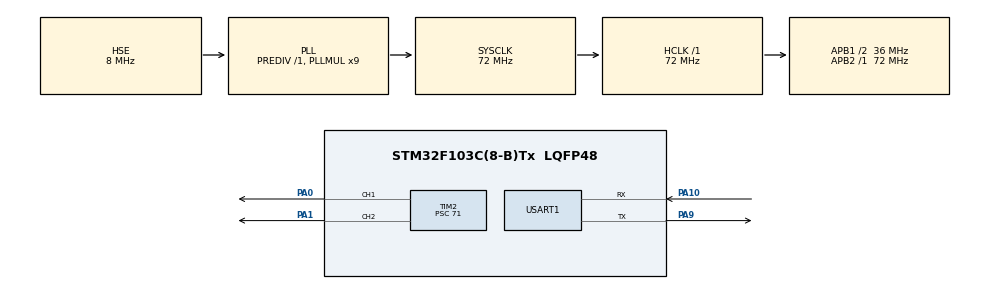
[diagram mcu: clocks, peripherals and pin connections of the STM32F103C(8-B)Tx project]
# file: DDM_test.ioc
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Mcu.Family=STM32F1
Mcu.Name=STM32F103C(8-B)Tx
Mcu.Package=LQFP48
NVIC.PriorityGroup=NVIC_PRIORITYGROUP_4
PA0-WKUP.Signal=S_TIM2_CH1_ETR
PA1.Signal=S_TIM2_CH2
PA10.Mode=Asynchronous
PA10.Signal=USART1_RX
PA13.Mode=Serial_Wire
PA13.Signal=SYS_JTMS-SWDIO
PA14.Mode=Serial_Wire
PA14.Signal=SYS_JTCK-SWCLK
PA9.Mode=Asynchronous
PA9.Signal=USART1_TX
PD0-OSC_IN.Mode=HSE-External-Oscillator
PD0-OSC_IN.Signal=RCC_OSC_IN
PD1-OSC_OUT.Mode=HSE-External-Oscillator
PD1-OSC_OUT.Signal=RCC_OSC_OUT
ProjectManager.HeapSize=0x200
ProjectManager.StackSize=0x400
ProjectManager.TargetToolchain=CMake
RCC.AHBFreq_Value=72000000
RCC.APB1CLKDivider=RCC_HCLK_DIV2
RCC.APB1Freq_Value=36000000
RCC.APB1TimFreq_Value=72000000
RCC.APB2Freq_Value=72000000
RCC.APB2TimFreq_Value=72000000
RCC.HCLKFreq_Value=72000000
RCC.PLLMUL=RCC_PLL_MUL9
RCC.PLLSourceVirtual=RCC_PLLSOURCE_HSE
RCC.SYSCLKFreq_VALUE=72000000
RCC.SYSCLKSource=RCC_SYSCLKSOURCE_PLLCLK
RCC.USBFreq_Value=72000000
SH.S_TIM2_CH1_ETR.0=TIM2_CH1,PWM Generation1 CH1
SH.S_TIM2_CH2.0=TIM2_CH2,PWM Generation2 CH2
TIM2.Channel-PWM\ Generation1\ CH1=TIM_CHANNEL_1
TIM2.Channel-PWM\ Generation2\ CH2=TIM_CHANNEL_2
TIM2.Period=19999
TIM2.Prescaler=71
TIM2.Pulse-PWM\ Generation1\ CH1=1500
TIM2.Pulse-PWM\ Generation2\ CH2=1500
USART1.VirtualMode=VM_ASYNC
VP_TIM2_VS_ClockSourceINT.Mode=Internal
board=custom

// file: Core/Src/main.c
/* USER CODE BEGIN Header */
/**
  ******************************************************************************
  * @file           : main.c
  * @brief          : Main program body
  ******************************************************************************
  * @attention
  *
  * Copyright (c) 2026 STMicroelectronics.
  * All rights reserved.
  *
  * This software is licensed under terms that can be found in the LICENSE file
  * in the root directory of this software component.
  * If no LICENSE file comes with this software, it is provided AS-IS.
  *
  ******************************************************************************
  */
/* USER CODE END Header */
#include "main.h"

/* USER CODE BEGIN Includes */
#include <stdio.h>
/* USER CODE END Includes */

TIM_HandleTypeDef htim2;

UART_HandleTypeDef huart1;

/* USER CODE BEGIN PV */
uint8_t rx_byte;
uint8_t rx_buffer[50];
uint16_t rx_index = 0;
int move_x, move_y;
int servo_x = 1500;
int servo_y = 1500;
/* USER CODE END PV */

void SystemClock_Config(void);
static void MX_GPIO_Init(void);
static void MX_TIM2_Init(void);
static void MX_USART1_UART_Init(void);

int main(void)
{

  /* MCU Configuration--------------------------------------------------------*/

  /* Reset of all peripherals, Initializes the Flash interface and the Systick. */
  HAL_Init();

  /* Configure the system clock */
  SystemClock_Config();

  /* Initialize all configured peripherals */
  MX_GPIO_Init();
  MX_TIM2_Init();
  MX_USART1_UART_Init();
  /* USER CODE BEGIN 2 */
  HAL_TIM_PWM_Start(&htim2, TIM_CHANNEL_1);
  HAL_TIM_PWM_Start(&htim2, TIM_CHANNEL_2);

  __HAL_TIM_SET_COMPARE(&htim2, TIM_CHANNEL_1, 1500);
  __HAL_TIM_SET_COMPARE(&htim2, TIM_CHANNEL_2, 1500);
  /* USER CODE END 2 */

  /* Infinite loop */
  while (1)
  {

    /* USER CODE BEGIN 3 */
    if (HAL_UART_Receive(&huart1, &rx_byte, 1, 1) == HAL_OK)
    {
      if (rx_byte != '\n' && rx_index < 49) {
        rx_buffer[rx_index++] = rx_byte;
      }
      else {
        rx_buffer[rx_index] = '\0';
        rx_index = 0;

        if (sscanf((char*)rx_buffer, "%d,%d", &move_x, &move_y) == 2)
        {
          servo_x -= move_x;
          servo_y += move_y;

          if (servo_x < 500) servo_x = 500;
          if (servo_x > 2500) servo_x = 2500;

          if (servo_y < 500) servo_y = 500;
          if (servo_y > 2500) servo_y = 2500;

          __HAL_TIM_SET_COMPARE(&htim2, TIM_CHANNEL_1, servo_x);
          __HAL_TIM_SET_COMPARE(&htim2, TIM_CHANNEL_2, servo_y);
        }
      }
    }
  }
  /* USER CODE END 3 */
}

void SystemClock_Config(void)
{
  RCC_OscInitTypeDef RCC_OscInitStruct = {0};
  RCC_ClkInitTypeDef RCC_ClkInitStruct = {0};

  /** Initializes the RCC Oscillators according to the specified parameters
  * in the RCC_OscInitTypeDef structure.
  */
  RCC_OscInitStruct.OscillatorType = RCC_OSCILLATORTYPE_HSE;
  RCC_OscInitStruct.HSEState = RCC_HSE_ON;
  RCC_OscInitStruct.HSEPredivValue = RCC_HSE_PREDIV_DIV1;
  RCC_OscInitStruct.HSIState = RCC_HSI_ON;
  RCC_OscInitStruct.PLL.PLLState = RCC_PLL_ON;
  RCC_OscInitStruct.PLL.PLLSource = RCC_PLLSOURCE_HSE;
  RCC_OscInitStruct.PLL.PLLMUL = RCC_PLL_MUL9;
  if (HAL_RCC_OscConfig(&RCC_OscInitStruct) != HAL_OK)
  {
    Error_Handler();
  }

  /** Initializes the CPU, AHB and APB buses clocks
  */
  RCC_ClkInitStruct.ClockType = RCC_CLOCKTYPE_HCLK|RCC_CLOCKTYPE_SYSCLK
                              |RCC_CLOCKTYPE_PCLK1|RCC_CLOCKTYPE_PCLK2;
  RCC_ClkInitStruct.SYSCLKSource = RCC_SYSCLKSOURCE_PLLCLK;
  RCC_ClkInitStruct.AHBCLKDivider = RCC_SYSCLK_DIV1;
  RCC_ClkInitStruct.APB1CLKDivider = RCC_HCLK_DIV2;
  RCC_ClkInitStruct.APB2CLKDivider = RCC_HCLK_DIV1;

  if (HAL_RCC_ClockConfig(&RCC_ClkInitStruct, FLASH_LATENCY_2) != HAL_OK)
  {
    Error_Handler();
  }
}

static void MX_TIM2_Init(void)
{

  TIM_ClockConfigTypeDef sClockSourceConfig = {0};
  TIM_MasterConfigTypeDef sMasterConfig = {0};
  TIM_OC_InitTypeDef sConfigOC = {0};

  htim2.Instance = TIM2;
  htim2.Init.Prescaler = 71;
  htim2.Init.CounterMode = TIM_COUNTERMODE_UP;
  htim2.Init.Period = 19999;
  htim2.Init.ClockDivision = TIM_CLOCKDIVISION_DIV1;
  htim2.Init.AutoReloadPreload = TIM_AUTORELOAD_PRELOAD_DISABLE;
  if (HAL_TIM_Base_Init(&htim2) != HAL_OK)
  {
    Error_Handler();
  }
  sClockSourceConfig.ClockSource = TIM_CLOCKSOURCE_INTERNAL;
  if (HAL_TIM_ConfigClockSource(&htim2, &sClockSourceConfig) != HAL_OK)
  {
    Error_Handler();
  }
  if (HAL_TIM_PWM_Init(&htim2) != HAL_OK)
  {
    Error_Handler();
  }
  sMasterConfig.MasterOutputTrigger = TIM_TRGO_RESET;
  sMasterConfig.MasterSlaveMode = TIM_MASTERSLAVEMODE_DISABLE;
  if (HAL_TIMEx_MasterConfigSynchronization(&htim2, &sMasterConfig) != HAL_OK)
  {
    Error_Handler();
  }
  sConfigOC.OCMode = TIM_OCMODE_PWM1;
  sConfigOC.Pulse = 1500;
  sConfigOC.OCPolarity = TIM_OCPOLARITY_HIGH;
  sConfigOC.OCFastMode = TIM_OCFAST_DISABLE;
  if (HAL_TIM_PWM_ConfigChannel(&htim2, &sConfigOC, TIM_CHANNEL_1) != HAL_OK)
  {
    Error_Handler();
  }
  if (HAL_TIM_PWM_ConfigChannel(&htim2, &sConfigOC, TIM_CHANNEL_2) != HAL_OK)
  {
    Error_Handler();
  }
  HAL_TIM_MspPostInit(&htim2);

}

static void MX_USART1_UART_Init(void)
{

  huart1.Instance = USART1;
  huart1.Init.BaudRate = 115200;
  huart1.Init.WordLength = UART_WORDLENGTH_8B;
  huart1.Init.StopBits = UART_STOPBITS_1;
  huart1.Init.Parity = UART_PARITY_NONE;
  huart1.Init.Mode = UART_MODE_TX_RX;
  huart1.Init.HwFlowCtl = UART_HWCONTROL_NONE;
  huart1.Init.OverSampling = UART_OVERSAMPLING_16;
  if (HAL_UART_Init(&huart1) != HAL_OK)
  {
    Error_Handler();
  }

}

static void MX_GPIO_Init(void)
{

  /* GPIO Ports Clock Enable */
  __HAL_RCC_GPIOD_CLK_ENABLE();
  __HAL_RCC_GPIOA_CLK_ENABLE();

}

void Error_Handler(void)
{
  __disable_irq();
  while (1)
  {
  }
}
